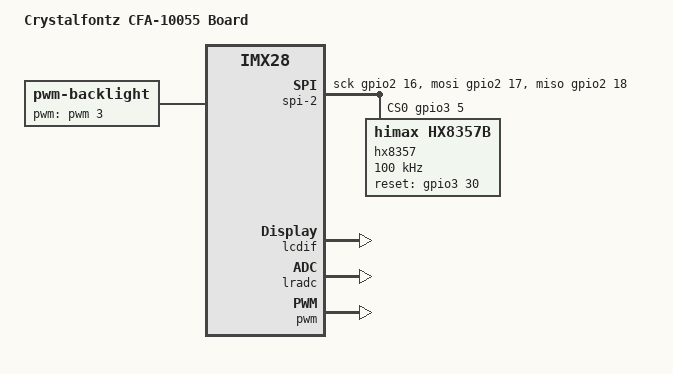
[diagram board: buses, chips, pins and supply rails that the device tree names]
// SPDX-License-Identifier: GPL-2.0-or-later
/*
 * Copyright 2013 Crystalfontz America, Inc.
 * 				  Free Electrons
 */

/*
 * The CFA-10055 is an expansion board for the CFA-10036 module and
 * CFA-10037, thus we need to include the CFA-10037 DTS.
 */
#include "imx28-cfa10037.dts"

/ {
	model = "Crystalfontz CFA-10055 Board";
	compatible = "crystalfontz,cfa10055", "crystalfontz,cfa10037", "crystalfontz,cfa10036", "fsl,imx28";

	spi-2 {
		compatible = "spi-gpio";
		pinctrl-names = "default";
		pinctrl-0 = <&spi2_pins_cfa10055>;
		status = "okay";
		gpio-sck = <&gpio2 16 0>;
		gpio-mosi = <&gpio2 17 0>;
		gpio-miso = <&gpio2 18 0>;
		cs-gpios = <&gpio3 5 0>;
		num-chipselects = <1>;
		#address-cells = <1>;
		#size-cells = <0>;

		hx8357: hx8357@0 {
			compatible = "himax,hx8357b", "himax,hx8357";
			reg = <0>;
			spi-max-frequency = <100000>;
			spi-cpol;
			spi-cpha;
			gpios-reset = <&gpio3 30 0>;
		};
	};

	backlight {
		compatible = "pwm-backlight";
		pwms = <&pwm 3 5000000>;
		brightness-levels = <0 4 8 16 32 64 128 255>;
		default-brightness-level = <6>;
	};
};

&lcdif {
	pinctrl-names = "default";
	pinctrl-0 = <&lcdif_18bit_pins_cfa10055
		     &lcdif_pins_cfa10055
		     &lcdif_pins_cfa10055_pullup>;
	display = <&display0>;
	status = "okay";

	display0: display0 {
		bits-per-pixel = <32>;
		bus-width = <18>;

		display-timings {
			native-mode = <&timing0>;
			timing0: timing0 {
				clock-frequency = <9216000>;
				hactive = <320>;
				vactive = <480>;
				hback-porch = <2>;
				hfront-porch = <2>;
				vback-porch = <2>;
				vfront-porch = <2>;
				hsync-len = <15>;
				vsync-len = <15>;
				hsync-active = <0>;
				vsync-active = <0>;
				de-active = <1>;
				pixelclk-active = <1>;
			};
		};
	};
};

&lradc {
	fsl,lradc-touchscreen-wires = <4>;
	status = "okay";
};

&pinctrl {
	spi2_pins_cfa10055: spi2-cfa10055@0 {
		reg = <0>;
		fsl,pinmux-ids = <
			MX28_PAD_SSP2_SCK__GPIO_2_16
			MX28_PAD_SSP2_MOSI__GPIO_2_17
			MX28_PAD_SSP2_MISO__GPIO_2_18
			MX28_PAD_AUART1_TX__GPIO_3_5
		>;
		fsl,drive-strength = <MXS_DRIVE_8mA>;
		fsl,voltage = <MXS_VOLTAGE_HIGH>;
		fsl,pull-up = <MXS_PULL_ENABLE>;
	};

	lcdif_18bit_pins_cfa10055: lcdif-18bit@0 {
		reg = <0>;
		fsl,pinmux-ids = <
			MX28_PAD_LCD_D00__LCD_D0
			MX28_PAD_LCD_D01__LCD_D1
			MX28_PAD_LCD_D02__LCD_D2
			MX28_PAD_LCD_D03__LCD_D3
			MX28_PAD_LCD_D04__LCD_D4
			MX28_PAD_LCD_D05__LCD_D5
			MX28_PAD_LCD_D06__LCD_D6
			MX28_PAD_LCD_D07__LCD_D7
			MX28_PAD_LCD_D08__LCD_D8
			MX28_PAD_LCD_D09__LCD_D9
			MX28_PAD_LCD_D10__LCD_D10
			MX28_PAD_LCD_D11__LCD_D11
			MX28_PAD_LCD_D12__LCD_D12
			MX28_PAD_LCD_D13__LCD_D13
			MX28_PAD_LCD_D14__LCD_D14
			MX28_PAD_LCD_D15__LCD_D15
			MX28_PAD_LCD_D16__LCD_D16
			MX28_PAD_LCD_D17__LCD_D17
		>;
		fsl,drive-strength = <MXS_DRIVE_4mA>;
		fsl,voltage = <MXS_VOLTAGE_HIGH>;
		fsl,pull-up = <MXS_PULL_DISABLE>;
	};

	lcdif_pins_cfa10055: lcdif-evk@0 {
		reg = <0>;
		fsl,pinmux-ids = <
			MX28_PAD_LCD_RD_E__LCD_VSYNC
			MX28_PAD_LCD_WR_RWN__LCD_HSYNC
			MX28_PAD_LCD_RS__LCD_DOTCLK
			MX28_PAD_LCD_CS__LCD_ENABLE
		>;
		fsl,drive-strength = <MXS_DRIVE_4mA>;
		fsl,voltage = <MXS_VOLTAGE_HIGH>;
		fsl,pull-up = <MXS_PULL_DISABLE>;
	};

	lcdif_pins_cfa10055_pullup: lcdif-10055-pullup@0 {
		reg = <0>;
		fsl,pinmux-ids = <
			MX28_PAD_LCD_RESET__GPIO_3_30
		>;
		fsl,drive-strength = <MXS_DRIVE_4mA>;
		fsl,voltage = <MXS_VOLTAGE_HIGH>;
		fsl,pull-up = <MXS_PULL_ENABLE>;
	};
};

&pwm {
	pinctrl-names = "default";
	pinctrl-0 = <&pwm3_pins_b>;
	status = "okay";
};
